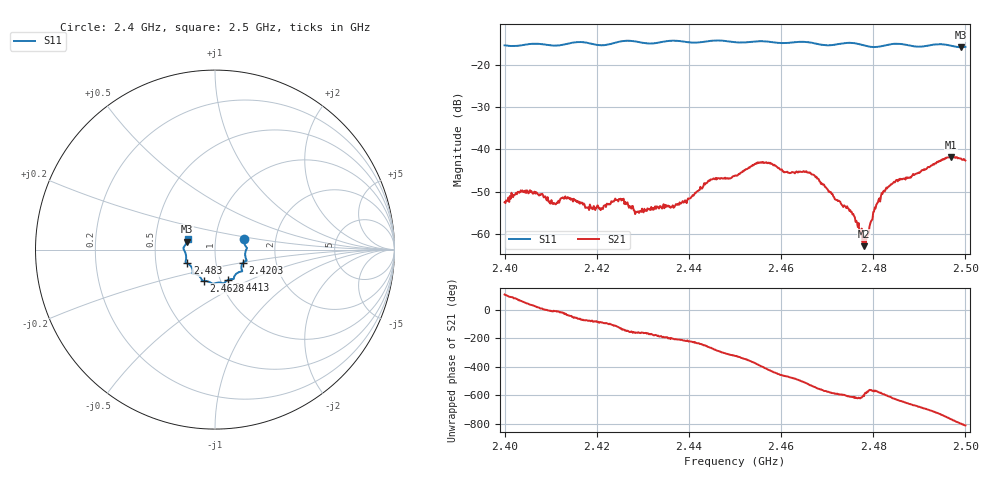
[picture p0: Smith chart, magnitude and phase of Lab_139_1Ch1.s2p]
# Hz S RI R
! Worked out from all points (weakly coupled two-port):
!   601 points, 2.4 GHz to 2.5 GHz, reference 50 ohm
!   highest |S21| = -41.78 dB at 2.4968 GHz (marker M1); lowest = -62.9 dB at 2.478 GHz (marker M2)
!   lowest |S11| = -15.8 dB at 2.499 GHz (marker M3), VSWR 1.39, Z = 36.4 + j3.36 ohm
!   |S11| at or under -10 dB: start of sweep to end of sweep
!   S12 and S22 are empty: the file has one direction only
!   S11 on the Smith chart (normalised r, x): 2.4 GHz: 1.37, +0.16; 2.4203 GHz: 1.35, -0.21; 2.4413 GHz: 1.09, -0.38; 2.4628 GHz: 0.83, -0.30; 2.483 GHz: 0.72, -0.11; 2.5 GHz: 0.73, +0.09
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2.4e9  0.1611 0.057  -0.000618 0.00228  0 0  0 0
2.404e9  0.1714 0.0179  0.0018 0.00255  0 0  0 0
2.410833e9  0.1684 -0.0185  0.00224 -0.000432  0 0  0 0
2.416667e9  0.1763 -0.0616  0.000839 -0.00217  0 0  0 0
2.420333e9  0.1554 -0.0741  0.000147 -0.00209  0 0  0 0
2.425333e9  0.1509 -0.1167  -0.00168 -0.00182  0 0  0 0
2.428667e9  0.1439 -0.1225  -0.00172 -0.000554  0 0  0 0
2.433333e9  0.1082 -0.1484  -0.00203 9.42e-05  0 0  0 0
2.441333e9  0.0745 -0.1682  -0.00203 0.00228  0 0  0 0
2.444833e9  0.0527 -0.186  -0.000176 0.00438  0 0  0 0
2.45e9  0.0293 -0.1838  0.00396 0.0029  0 0  0 0
2.4555e9  -0.00986 -0.1909  0.00576 -0.00403  0 0  0 0
2.462833e9  -0.0631 -0.1746  -0.00289 -0.00446  0 0  0 0
2.466667e9  -0.0744 -0.1674  -0.00502 -0.000558  0 0  0 0
2.474833e9  -0.1249 -0.1337  -0.000635 0.00176  0 0  0 0
2.478e9  -0.1245 -0.1164  -0.000291 0.00065  0 0  0 0
2.480833e9  -0.1373 -0.089  -0.00194 0.00121  0 0  0 0
2.483e9  -0.1549 -0.0767  -0.00162 0.00303  0 0  0 0
2.483333e9  -0.157 -0.0756  -0.00139 0.00333  0 0  0 0
2.496833e9  -0.1677 0.022  0.00551 -0.006  0 0  0 0
2.499e9  -0.1559 0.045  0.00167 -0.00763  0 0  0 0
2.5e9  -0.1529 0.0587  -0.000169 -0.00738  0 0  0 0
